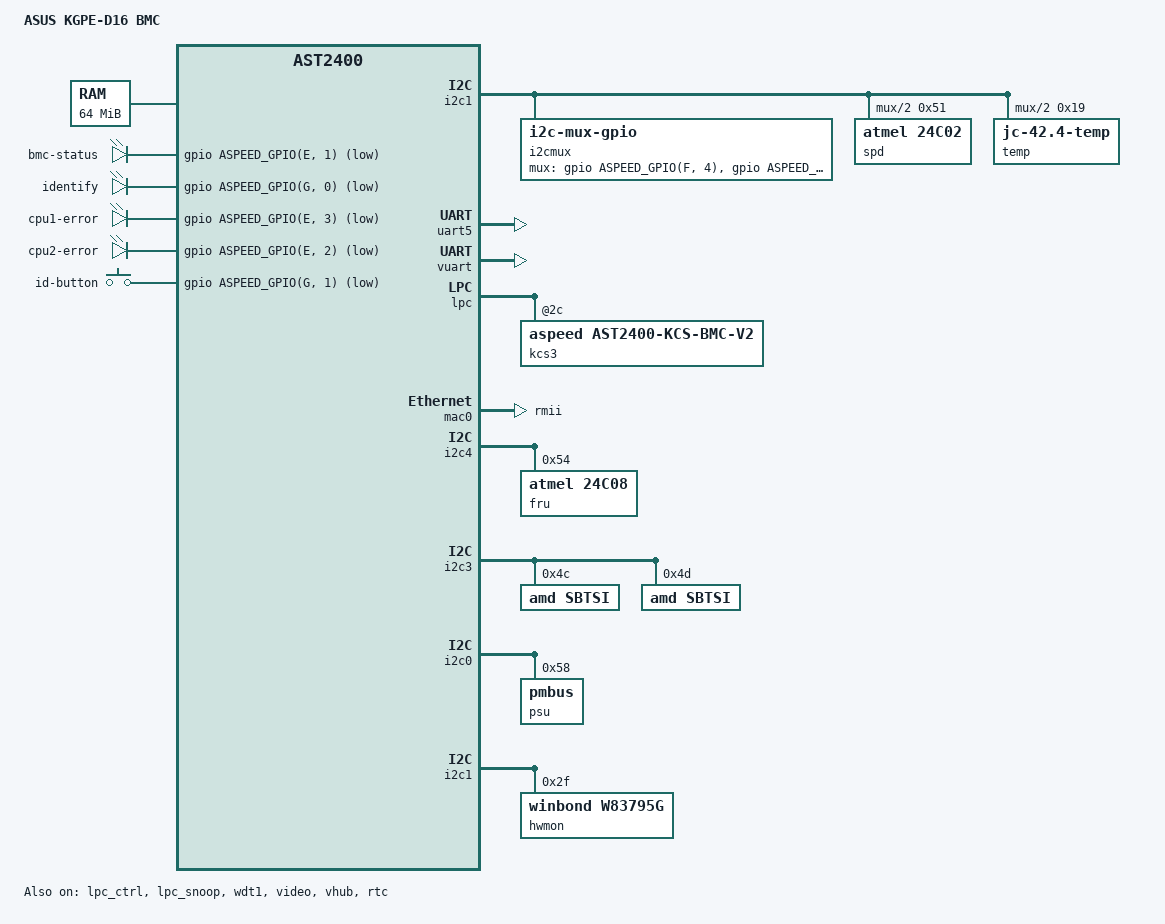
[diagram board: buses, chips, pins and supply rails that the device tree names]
// SPDX-License-Identifier: GPL-2.0+
/dts-v1/;

#include "aspeed-g4.dtsi"
#include <dt-bindings/gpio/aspeed-gpio.h>
#include <dt-bindings/input/input.h>

/*
 * ASUS KGPE-D16 server-board BMC.
 *
 * The BMC SoC is an ASPEED AST2050 (G3 generation, ARM926EJ-S). It is
 * register-compatible with the AST2400 (G4) for the blocks we use, so this
 * device tree is built on aspeed-g4.dtsi and only overrides the SCU compatible
 * so the AST2050 clock driver matches (see kernel/patches/0001-clk-aspeed-...).
 *
 * Targets the `kgpe-d16-bmc` QEMU machine: console on UART5 (0x1e784000, the
 * AST2050's "UART2"), 64 MB DDR2, one FTGMAC100 NIC.
 */

/ {
	model = "ASUS KGPE-D16 BMC";
	compatible = "asus,kgpe-d16-bmc", "aspeed,ast2400";

	aliases {
		serial4 = &uart5;
	};

	chosen {
		stdout-path = &uart5;
		bootargs = "console=ttyS4,115200n8 earlyprintk";
	};

	memory@40000000 {
		device_type = "memory";
		/*
		 * 64 MB DDR2, hardware-verified on the real KGPE-D16 BMC
		 * (2026-07-08, culvert P2A: real size aliases mod 64 MB; the
		 * chip is 4-bank/64 MB, MCR04=0x00000585). See ast2050.h
		 * PHYS_SDRAM_1_SIZE and RAPTOR_ENGINEERING_AST2050_ANALYSIS.md.
		 */
		reg = <0x40000000 0x04000000>;	/* 64 MB */
	};

	reserved-memory {
		#address-cells = <1>;
		#size-cells = <1>;
		ranges;

		/*
		 * VGA/graphics aperture: the AST2050's integrated VGA controller
		 * (the host's video adapter on the KGPE-D16) frame-buffers out of
		 * the top of BMC DRAM. Size is the SCU70[3:2] hardware strap
		 * (datasheet §18.2 p.217, mirrored into MCR04[5:4] §17 p.185) —
		 * hardware-verified 8 MB on this board: the live JTAG DDR2 init
		 * computed "MCR04 = 0x00000585" from the real SCU70 (bits [5:4] =
		 * 00 = 8 MB; JTAG-USAGE-GUIDE.md). no-map keeps the BMC kernel
		 * out of the host's framebuffer; the video engine (F8) captures
		 * from this region. Same pattern as the C410X vga_memory node and
		 * mainline aspeed boards.
		 */
		vga_memory: region@43800000 {
			no-map;
			compatible = "shared-dma-pool";
			reg = <0x43800000 0x00800000>;	/* 8 MB */
		};
	};

	/*
	 * Host power-control LEDs (F2). Active-low, per Raptor's board GPIO CSV
	 * (HW-WIRING-power-sensors.md §1.1/§1.3). Only the board-authoritative
	 * LEDs are listed (the Facebook-Wedge power_led/post_led leftovers are
	 * deliberately ignored).
	 */
	leds {
		compatible = "gpio-leds";

		led-bmc-status {
			label = "bmc-status";
			gpios = <&gpio ASPEED_GPIO(E, 1) GPIO_ACTIVE_LOW>;
			linux,default-trigger = "heartbeat";
		};

		led-identify {
			label = "identify";
			gpios = <&gpio ASPEED_GPIO(G, 0) GPIO_ACTIVE_LOW>;
		};

		led-cpu1-error {
			label = "cpu1-error";
			gpios = <&gpio ASPEED_GPIO(E, 3) GPIO_ACTIVE_LOW>;
		};

		led-cpu2-error {
			label = "cpu2-error";
			gpios = <&gpio ASPEED_GPIO(E, 2) GPIO_ACTIVE_LOW>;
		};
	};

	/* Front-panel locator / ID button (GPIOG1, active low). */
	gpio-keys {
		compatible = "gpio-keys";

		id-button {
			label = "id-button";
			linux,code = <KEY_RESTART>;
			gpios = <&gpio ASPEED_GPIO(G, 1) GPIO_ACTIVE_LOW>;
		};
	};
};

&gpio {
	status = "okay";
	/*
	 * Host power control (F2). gpio-line-names is POSITIONAL: entry N names
	 * line N = bank*8 + pin (A0=0, B0=8, ... H0=56). The 12 board-meaningful
	 * lines (from Raptor's asus-BMC-GPIO.csv, HW-WIRING-power-sensors.md §1.1)
	 * are the active-low power-request lines the BMC drives (power-up-req-n
	 * B1, power-down-req-n F0, reset-req-n B6), the power-state-in input
	 * (power-state-in H2, 1=on), the BMC-control lockout (A4), the SPD-mux
	 * selects (F4/F5), the LEDs (E1/E2/E3/G0) and the ID switch (G1). These
	 * names are what phosphor-gpio / libgpiod resolve against; the modeled
	 * QEMU power-sequencer (aspeed_gpio_kgpe_d16_pwrseq) latches B1/F0/B6 and
	 * feeds H2 back so the whole OpenBMC power path is demonstrable.
	 */
	gpio-line-names =
		/*  A0..A7 */ "", "", "", "", "bmc-ctl-lockout-n", "", "", "",
		/*  B0..B7 */ "", "power-up-req-n", "", "", "", "", "reset-req-n", "",
		/*  C0..C7 */ "", "", "", "", "", "", "", "",
		/*  D0..D7 */ "", "", "", "", "", "", "", "",
		/*  E0..E7 */ "", "led-bmc-status-n", "led-cpu2-err-n", "led-cpu1-err-n", "", "", "", "",
		/*  F0..F7 */ "power-down-req-n", "", "", "", "spd-mux-s1", "spd-mux-s0", "", "",
		/*  G0..G7 */ "led-id-n", "sw-id-n", "", "", "", "", "", "",
		/*  H0..H2 */ "", "", "power-state-in";
};

&syscon {
	/* AST2050 clock driver matches first, AST2400 for everything else. */
	compatible = "aspeed,ast2050-scu", "aspeed,ast2400-scu",
		     "syscon", "simple-mfd";
};

&vic {
	/*
	 * AST2050 (G3) compact VIC: a single 32-bit bank at 0x1e6c0000, register
	 * window 0x00-0x38 (NOT the AST2400 two-bank layout at 0x1e6c0080). Bound
	 * by irq-aspeed-g3-vic, which programs the trigger config (SENSE/DUAL/
	 * EVENT) the AST2400 hardwires. See qemu-model/peripherals/vic.
	 *
	 * Now wired: the QEMU AST2050 SoC uses TYPE_ASPEED_2050_VIC and the C410X
	 * vendor firmware (C4 oracle) boots on it, once the faithful timer emits one
	 * rising-edge pulse per expiry (aspeed_timer.c) instead of toggling — the
	 * toggle only delivered every other expiry under the G3's single-edge config,
	 * halving the guest clock and tripping the vendor watchdog. See
	 * qemu-model/results/vic-hardware-crosscheck.md.
	 */
	compatible = "aspeed,ast2050-vic";
	reg = <0x1e6c0000 0x40>;
};

&uart5 {
	status = "okay";
};

/*
 * Host-facing VUART (0x1e787000) — the AST2050 (G3) Virtual UART the x86 host
 * reaches over LPC (I/O 0x3F8, SIRQ 4; datasheet §29). It is the Serial-over-LAN
 * source: obmc-console-server binds it as /dev/ttyVUART0 (udev rule keyed on
 * iomem_base 0x1E787000) and netipmid exposes it via `ipmitool sol activate`.
 * Raptor's real AST2050 OpenBMC port uses this same block (dev-vuart.c ->
 * mainline 8250_aspeed_vuart.c). The kgpe-d16-bmc QEMU machine models it as a
 * 16550 wired to serial_hd(1). The driver defaults lpc-io-reg=0x3f8 / sirq=4
 * (COM1), which match this board.
 */
&vuart {
	status = "okay";
};

/*
 * LPC host-to-BMC control + port-80h POST-code snoop (B1b/B1c). The AST2050 G3
 * LPC block (0x1e789000) carries the same HICRx/SNPWADR/SNPWDR registers as the
 * AST2400 at identical offsets, so mainline aspeed-lpc-ctrl / aspeed-lpc-snoop
 * bind unchanged. lpc-snoop captures the host's I/O-port-0x80 (POST code) writes
 * into a kfifo exposed at /dev/aspeed-lpc-snoop0; lpc-ctrl exposes the host
 * LPC-mapped window at /dev/aspeed-lpc-ctrl0. Full capture needs a host LPC
 * master (present on real silicon = the SP5100; the BMC-only QEMU machine
 * validates the BMC-side driver bind + register setup).
 */
&lpc_ctrl {
	status = "okay";
};

&lpc_snoop {
	status = "okay";
	snoop-ports = <0x80>;
};

/*
 * Host-side IPMI over LPC KCS (F5b — local host<->BMC channel). The AST2050 (G3)
 * LPC controller at 0x1e789000 exposes three H8S/2168-style KCS channels; each is
 * an IDRn/ODRn/STRn register triple (datasheet §30.3, p.315; DATASHEET-LPC.md):
 *   ch1 0x24/0x30/0x3c   ch2 0x28/0x34/0x40   ch3 0x2c/0x38/0x44
 * These offsets are IDENTICAL on the AST2400, so mainline kcs_bmc_aspeed binds
 * unchanged: drivers/char/ipmi/kcs_bmc_aspeed.c defines LPC_IDR1=0x024 ...
 * LPC_STR3=0x044, exactly matching the datasheet. The faithful QEMU G3 LPC model
 * (qemu/hw/misc/aspeed_lpc_ast2050.c) services these registers (RW config/data,
 * read-only KCS status STR1-3). NB: BT is NOT wired here — on the G3 the BT block
 * is at 0x48-0x68 (H8S layout), but mainline's aspeed,ast2400-ibt-bmc / bt-bmc.c
 * hardcode the AST2400 0x140 offset, which is beyond this SoC's LPC register file
 * (model window 0x00-0x9F) and unimplemented on real AST2050 silicon — so KCS is
 * the only mainline-drivable host-IPMI channel on this SoC. See HOST-KCS-BT-STATUS.md.
 *
 * Channel 3 is the classic IPMI SMS "system interface": host I/O port 0xca2 (data
 * 0xca2 / status+command 0xca3), the OpenBMC convention. The kernel binds
 * kcs_bmc_aspeed + the cdev-ipmi client (CONFIG_IPMI_KCS_BMC_CDEV_IPMI) and creates
 * /dev/ipmi-kcs3, which OpenBMC's host-IPMI bridge (phosphor-ipmi-kcs / kcsbridge)
 * opens to feed ipmid. LPC IRQ = VIC #8 (datasheet §10 Table 36, p.99; SoC memmap
 * ASPEED_DEV_LPC=8), the host->BMC IBF completion.
 */
&lpc {
	kcs3: kcs@2c {
		compatible = "aspeed,ast2400-kcs-bmc-v2";
		reg = <0x2c 0x1>, <0x38 0x1>, <0x44 0x1>;
		aspeed,lpc-io-reg = <0xca2>;
		interrupts = <8>;
		/*
		 * Hold the LPC clock (G3 SCU0C[8] "Stop LCLK") while KCS is
		 * up. No other enabled node references LCLK on this board, so
		 * without this clk_disable_unused() stops the LPC clock and
		 * the whole host-facing LPC block (KCS + the VUART SOL data
		 * path) dies on real silicon — the latent sibling of finding
		 * #94 (see G3-CLK-PROGRESS.md). Consumed by the
		 * kcs_bmc_aspeed optional-clock patch (0004).
		 */
		clocks = <&syscon ASPEED_CLK_GATE_LCLK>;
		status = "okay";
	};
};

&mac0 {
	status = "okay";
	/*
	 * AST2050 (G3) MAC, register-compatible with the AST2400. phy-mode=rmii
	 * with the real RTL8201CP PHY (no fixed-link) -- matching the real board.
	 * The eth0 RX=0 bug is NOT a PHY/RMII issue: on the G3 a MAC SW_RST clears
	 * the MACCR speed bit, and the mainline driver's preserve-only start_hw()
	 * leaves the MAC in 10M timing on the 100M link -> rx=0. The kgpe-d16-bmc
	 * QEMU MAC models that; the kernel cur_speed patch fixes it. The fix is
	 * FAST_MODE alone -- it does not depend on this DTS, which is why no
	 * fixed-link workaround is needed here.
	 */
	phy-mode = "rmii";
};

/*
 * MAC2 (0x1e680000) = the RMII2 NC-SI sideband to the two Intel 82574L host
 * NICs (schematic §7; SCU70[8:6]=110 strap-enables it on the real board).
 * Disabled by DEFAULT so the single-NIC oracle boots (C2/C4) and the plain
 * NFS/SSH boots are unaffected — MAC1 then has no QEMU backend. The D07 NC-SI
 * test enables this node (fdtput status=okay) and runs QEMU with a second
 * -nic whose slirp backend answers NC-SI. `use-ncsi` selects net/ncsi (no
 * MDIO PHY on this channel). See device-driver-program/ D07.
 */
&mac1 {
	status = "disabled";
	use-ncsi;
	/*
	 * Mux the RMII2 data pins (schematic §7 balls A5/B5/B6/C4/D4/D5, GPIOE
	 * group) to the RMII2 function — WITHOUT this the NC-SI control frames
	 * never physically reach the 82574L NICs and discovery fails with "No
	 * channel found to configure!" (silicon attempt 1, evidence
	 * d07-ncsi/02-...). SCU70[8:6]=110 strap-enables RMII2 on this board.
	 */
	pinctrl-names = "default";
	pinctrl-0 = <&pinctrl_rmii2_default>;
};

/*
 * Board FRU EEPROM: Holtek HT24LC08 (8 Kbit, U25) on the BMC's direct I2C5
 * engine (schematic §10.2, balls A13/B13 -> Linux i2c-4). The E2 strap is tied
 * high (netlist trace), so it answers at 0x54-0x57, NOT 0x50-0x53 as §10.2's
 * table states. WC# is grounded (write-enabled). This bus is direct (not
 * behind the QU9/QU5 mux), so it is reachable regardless of host power.
 * The 24c08 spans 4 device addresses; at24 binds it at the 0x54 base.
 */
&i2c4 {
	status = "okay";

	fru@54 {
		compatible = "atmel,24c08";
		reg = <0x54>;
	};
};

/*
 * BMC I2C4 engine (DT i2c3) — schematic §10.2 "AMD SB-TSI 0x4C/0x4D", reached
 * through the QU4 level-shift FETs Q56-Q59. The two AMD processor thermal
 * interfaces (P0 @0x4c, P1 @0x4d) bind the Linux sbtsi_temp hwmon driver. On
 * real silicon these only respond while the host CPU(s) are powered.
 */
&i2c3 {
	status = "okay";

	sbtsi@4c {
		compatible = "amd,sbtsi";
		reg = <0x4c>;
	};

	sbtsi@4d {
		compatible = "amd,sbtsi";
		reg = <0x4d>;
	};
};

/*
 * BMC I2C1 engine (DT i2c0) — schematic §10.2 / I2C-SMBUS-TOPOLOGY §3.1: the
 * dedicated PSU SMBus (connector PSUSMB1, BMC balls A15/B15 = SDA1/SCL1). The
 * schematic numbers I2C buses 1-based, so schematic "I2C1" is QEMU engine 0 =
 * DT i2c0 (w83795 sits on schematic I2C2 = engine 1 = DT i2c1, confirming the
 * N->N-1 mapping). The QEMU machine attaches the modeled server PSU here
 * (hw/arm/aspeed.c: aspeed_i2c_get_bus(&soc->i2c, 0) -> "pmbus-psu" @0x58).
 * This bus is direct (not behind the QU9/QU5 mux on i2c1), so it is reachable
 * regardless of host power.
 */
&i2c0 {
	status = "okay";

	/*
	 * Generic server-PSU PMBus @0x58. Binds the Linux generic `pmbus` hwmon
	 * driver (CONFIG_SENSORS_PMBUS), which identifies the device via
	 * STATUS_WORD/CAPABILITY and auto-detects VIN/VOUT/IOUT/TEMP/FAN from the
	 * modeled PMBus 1.2 device (hw/sensor/pmbus_psu.c). Row 24 LQ.
	 */
	psu@58 {
		compatible = "pmbus";
		reg = <0x58>;
	};
};

&i2c1 {
	status = "okay";

	/*
	 * Nuvoton/Winbond W83795G hardware monitor -- the KGPE-D16's single
	 * fan/voltage/temperature sensor chip, on the BMC's I2C bus 1 at 0x2f
	 * (Raptor's AST2050 OpenBMC port taps it exactly there; coreboot's
	 * devicetree.cb programs its channel map). The AST2050's own PWM/tach
	 * block is unused on this board -- all sensors come from this chip.
	 *
	 * The mainline drivers/hwmon/w83795.c has no of_match_table, but the I2C
	 * core's DT modalias fallback strips the "winbond," vendor prefix and
	 * matches the driver's i2c_device_id "w83795g", so this node binds and
	 * exposes /sys/bus/i2c/devices/1-002f/hwmon for phosphor-hwmon.
	 * Modelled in QEMU by hw/sensor/w83795.c on the kgpe-d16-bmc machine.
	 */
	hwmon@2f {
		compatible = "winbond,w83795g";
		reg = <0x2f>;
	};
};

/*
 * QU9/QU5/U23 I2C mux fabric behind I2C2 (Linux i2c-1): the DIMM SPD/TSOD
 * buses and the aux-panel/TPM/PCIe-SMBus segment, selected by GPIOF4/F5
 * (AST_I2CS0/1, balls W4/W3). There is NO enable GPIO: QU9's bridge closes
 * automatically while host SYS_PWRGD is high, and U23 hands the select lines
 * to the BMC only once the host BIOS asserts SB_BIOS_POST_COMPLT# (hardware
 * mutex) — with the host off or mid-POST, transactions simply get no ACK or
 * may be routed by the SP5100's choice. Decoded pin-by-pin in
 * schematic-wiring/I2C-MUX-FABRIC-ARBITRATION.md; modeled in QEMU by
 * hw/i2c/kgpe_d16_i2c_fabric.c on the kgpe-d16-bmc machine.
 */
/ {
	i2cmux {
		compatible = "i2c-mux-gpio";
		#address-cells = <1>;
		#size-cells = <0>;
		i2c-parent = <&i2c1>;
		/* order: bit0 = S0 (GPIOF4), bit1 = S1 (GPIOF5) */
		mux-gpios = <&gpio ASPEED_GPIO(F, 4) GPIO_ACTIVE_HIGH>,
			    <&gpio ASPEED_GPIO(F, 5) GPIO_ACTIVE_HIGH>;

		i2c@0 {
			/* QU5 Y0: aux panel + (via QU9) TPM hdr + PCIe SMBus */
			reg = <0>;
			#address-cells = <1>;
			#size-cells = <0>;
		};

		i2c@2 {
			/* QU5 Y2 = I2C10: DIMM A-D bank (SPD 0x50-0x57) */
			reg = <2>;
			#address-cells = <1>;
			#size-cells = <0>;

			/*
			 * Rig population: slot A2 (SA-strap map §5b). The real
			 * A2 module (part RMR5030EF68F9W1600, read on silicon)
			 * is a UDIMM with SPD byte32=0 = no thermal sensor, so
			 * on the physical rig 0x19 NAKs and temp@19 does not bind.
			 * The board itself DOES support a TSOD at 0x18+slot (§10.2),
			 * so the node is declared to describe the board capability;
			 * the jc42 driver simply fails to probe when the DIMM lacks
			 * a sensor (rig), and binds when one is present (QEMU
			 * `-M kgpe-d16-bmc,ts-dimm=on`, or a TS-equipped DIMM). #205.
			 */
			spd@51 {
				compatible = "atmel,24c02";
				reg = <0x51>;
				read-only;
			};

			temp@19 {
				compatible = "jedec,jc-42.4-temp";
				reg = <0x19>;
			};
		};

		i2c@3 {
			/* QU5 Y3 = I2C11: DIMM E-H bank (empty on the rig) */
			reg = <3>;
			#address-cells = <1>;
			#size-cells = <0>;
		};
	};
};

/*
 * ast2050-pinctrl = the G4 pinctrl driver with the G3 strap-phantom quirk
 * (kernel patch 0008). The G3's SCU70 layout differs from the AST2400's
 * (datasheet §18: G3 bit19 = "bypass all PLL", not an ACPI mux select), so
 * G4-table functions gated purely on HW_STRAP1/2 must not block GPIO
 * requests — with the real strap value (SCU70=0x00819582, bit19=0) the
 * stock driver rejects GPIOF5 (the QU5 I2C mux select S1) with -EPERM,
 * killing the /i2cmux probe. Reproduced byte-identically in QEMU once the
 * machine carried the measured strap value.
 */
&pinctrl {
	compatible = "aspeed,ast2050-pinctrl";
};

&wdt1 {
	status = "okay";
};

/*
 * The AST2050 (G3) has ONE watchdog (datasheet §2.13, singular). The reusable
 * aspeed-g4.dtsi inherits a second wdt2@1e785020 from the AST2400; the G3 has no
 * such block (the faithful QEMU machine no longer instantiates it either, #144),
 * so keep it disabled here to match the silicon.
 */
&wdt2 {
	status = "disabled";
};

/*
 * AST2050 (G3) Video Engine (0x1e700000, VIC INT#7) — the KVM screen-capture
 * block (F8). It captures the SoC's own VGA/CRT framebuffer (or an external DVO
 * source) and JPEG/VQ-compresses it for remote KVM; OpenBMC's obmc-ikvm streams
 * the compressed frames. Datasheet §20 (p.232-255) + §9 memory map (p.97) + §10
 * IRQ table (p.99). AST2050-only block (the sibling AST1100 lacks the video
 * compression engine, §1.3.6 p.19). See F8-KVM.md and qemu-model/peripherals/video.
 *
 * Bound by mainline drivers/media/platform/aspeed/aspeed-video.c via the
 * aspeed-g4.dtsi node (compatible "aspeed,ast2400-video-engine"): the driver
 * ioremaps 0x1e700000, requests INT#7, gets the VCLK/ECLK gates, and registers a
 * V4L2 device -> /dev/video0. The AST2050 VR-register file differs from the
 * G4/G5/G6 the driver targets (DATASHEET-VIDEO.md §7), so probe + /dev/video0 is
 * faithful, but actual frame capture (VR004 trigger -> JPEG stream -> INT#7) is a
 * deferred behavioural add-on in the QEMU model (aspeed.video-ast2050 is a
 * register-accurate protection-key + RW model). The kgpe-d16-bmc QEMU machine
 * maps this block; there is no VGA host source in the BMC-only machine, so capture
 * reports no-signal — the achievable QEMU bar is "driver probes + opens the
 * capture device". See F8-KVM.md for the host-VGA-source boundary.
 */
&video {
	/*
	 * Bind the G3 compatible (not the g4.dtsi default) so the driver takes
	 * the jpeg_only path: pure-JPEG via VE_COMP_CTRL[0], DCT selector clamped
	 * to the 8 ROM tables, and software JFIF wrapping of the headerless
	 * entropy the AST2050 engine emits -- exactly as on real silicon (the
	 * real-HW DTB uses the same compatible). The QEMU model emits headerless
	 * entropy when VR060[0] is set, so QEMU now mirrors silicon end to end.
	 */
	compatible = "aspeed,ast2050-video-engine";
	status = "okay";
};

/*
 * AST2050 (G3) USB2.0 device / virtual-hub controller (0x1e6a0000, VIC INT#5) —
 * the BMC's ONLY USB block and the vKVM virtual-HID / virtual-media datapath (F6
 * groundwork; F8 uses it for the HID keyboard/mouse gadget). The AST2050 has NO
 * USB *host* controller (no EHCI/UHCI/OHCI), so "connect USB devices" means the
 * BMC presents virtual devices TO THE SERVER HOST. Datasheet §9 (p.97) + §10
 * (p.99) + §15 (p.154-178). See F6-USB.md + qemu-model/peripherals/usb.
 *
 * Bound by mainline drivers/usb/gadget/udc/aspeed-vhub (an AST2400-family driver).
 * The AST2050 vhub register file differs (7 downstream ports + a 21-endpoint pool
 * vs the AST2400's 5/15), so the faithful G3 counts are set here; a dedicated G3
 * UDC driver + a functional QEMU vhub datapath (so the BMC actually presents a
 * device to the host) are the F8-KVM host-facing follow-ups. QEMU models this
 * block as aspeed.udc-ast2050 @0x1e6a0000. The HID keyboard/mouse gadget the KVM
 * client drives is demonstrated in-guest over dummy_hcd (F8-KVM.md §3).
 */
&vhub {
	status = "okay";
	aspeed,vhub-downstream-ports = <7>;
	aspeed,vhub-generic-endpoints = <21>;
};

/*
 * AST2050 (G3) counter-style RTC (0x1E781000, datasheet §24). The g4.dtsi base
 * declares this node as "aspeed,ast2400-rtc" (BCD layout) and disables it — but
 * the AST2050 RTC is COUNTER-style (COUNTER/RELOAD/CONTROL/RESTART), register-
 * incompatible with the ast2400 driver. Re-point it at the counter-style variant
 * (rtc-aspeed "aspeed,ast2050-rtc") and enable it so Linux gets a working
 * /dev/rtc0. See kernel patch 0009 + qemu-model/peripherals/rtc + #187.
 */
&rtc {
	compatible = "aspeed,ast2050-rtc";
	reg = <0x1e781000 0x20>;
	interrupts = <22>;	/* VIC 22 = the RTC's single IRQ = alarm (silicon-proven #192); wakealarm */
	status = "okay";
};
